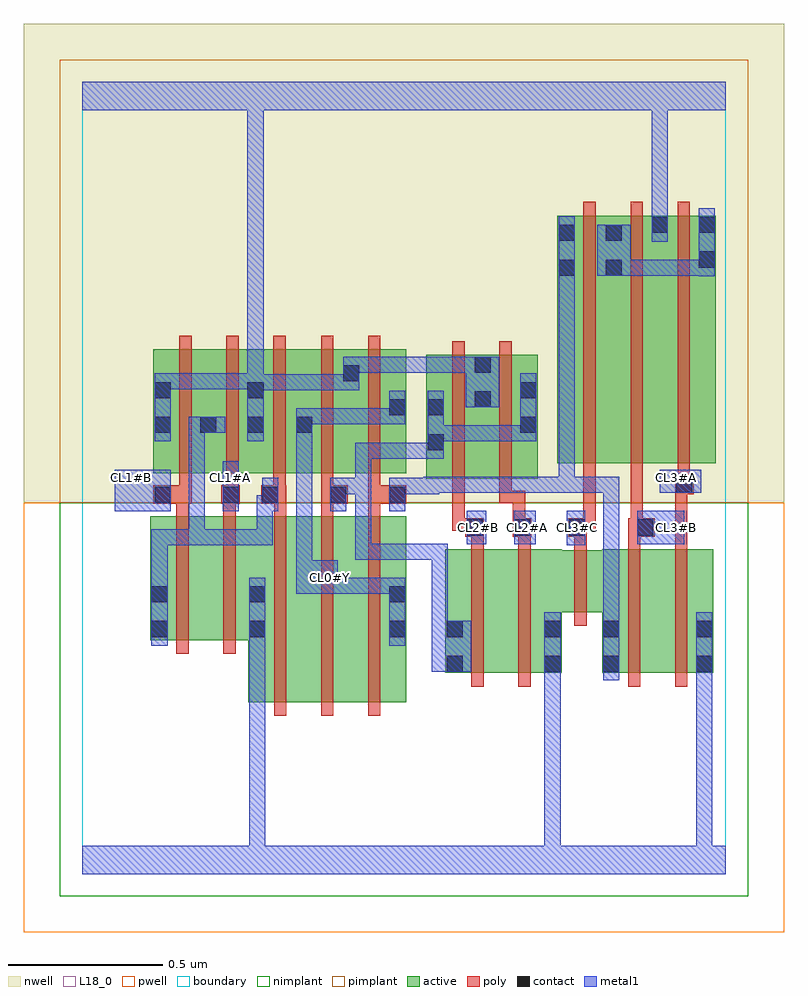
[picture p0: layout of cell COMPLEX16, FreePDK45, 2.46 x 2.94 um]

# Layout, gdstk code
import gdstk
lib = gdstk.Library(unit=1e-6, precision=1e-09)
def R(c, l, rs):  # rectangles x0, y0, x1, y1
    for r in rs: c.add(gdstk.rectangle(r[:2], r[2:], *l))
def A(c, l, x, y, w, h, nx, ny, dx, dy):  # array of equal rectangles
    R(c, l, [(x+i*dx, y+j*dy, x+i*dx+w, y+j*dy+h) for i in range(nx) for j in range(ny)])
active = (1, 0)
pwell = (2, 0)
nwell = (3, 0)
nimplant = (4, 0)
pimplant = (5, 0)
poly = (9, 0)
contact = (10, 0)
metal1 = (11, 0)
L18_0 = (18, 0)
boundary = (235, 0)

complex16 = lib.new_cell('COMPLEX16')
R(complex16, active, [(0.536,0.556,0.716,1.156), (0.716,0.556,0.868,1.156), (0.868,0.556,1.048,1.156), (0.988,0.556,1.048,1.156), (1.174,0.65,1.234,1.05), (1.174,0.65,1.354,1.05), (1.354,0.65,1.55,1.05), (1.49,0.65,1.55,1.046), (1.68,0.65,1.86,1.05), (1.68,0.65,1.74,1.046), (1.86,0.65,2.04,1.05), (1.98,0.65,2.04,1.05), (0.22,0.756,0.28,1.156), (0.22,0.756,0.4,1.156), (0.4,0.756,0.596,1.156), (0.536,0.756,0.596,1.156), (1.49,0.846,1.74,1.046), (1.112,1.278,1.172,1.644), (1.112,1.278,1.324,1.678), (1.264,1.278,1.324,1.678), (1.264,1.278,1.472,1.678), (1.412,1.278,1.472,1.644), (0.23,1.296,0.438,1.696), (0.23,1.296,0.29,1.644), (0.378,1.296,0.438,1.696), (0.378,1.296,0.59,1.696), (0.53,1.296,0.59,1.696), (0.53,1.296,0.748,1.696), (0.688,1.296,0.748,1.696), (0.688,1.296,0.9,1.696), (0.84,1.296,0.9,1.696), (0.84,1.296,1.048,1.696), (0.988,1.296,1.048,1.644), (1.536,1.328,1.596,2.128), (1.536,1.328,1.748,2.128), (1.688,1.328,1.748,2.128), (1.688,1.328,1.896,2.128), (1.836,1.328,2.048,2.128), (1.988,1.328,2.048,2.128), (1.836,1.686,1.896,2.128)])
R(complex16, pwell, [(-0.188,-0.188,2.268,1.2)])
R(complex16, nwell, [(-0.188,1.2,2.268,2.748)])
R(complex16, nimplant, [(-0.072,-0.072,2.152,1.2)])
R(complex16, pimplant, [(-0.072,1.2,2.152,2.632)])
A(complex16, poly, 0.62, 0.512, 0.04, 0.688, 3, 1, 0.152, 0)
A(complex16, poly, 0.62, 1.16, 0.04, 0.076, 3, 1, 0.152, 0)
A(complex16, poly, 0.314, 1.216, 0.04, 0.076, 3, 1, 0.152, 0)
A(complex16, poly, 0.314, 1.252, 0.04, 0.488, 3, 1, 0.152, 0)
A(complex16, poly, 1.62, 1.284, 0.04, 0.888, 3, 1, 0.152, 0)
R(complex16, poly, [(1.258,0.606,1.298,1.094), (1.41,0.606,1.45,1.094), (1.764,0.606,1.804,1.094), (1.916,0.606,1.956,1.094), (0.304,0.712,0.344,1.2), (0.456,0.712,0.496,1.2), (1.59,0.802,1.63,1.09), (1.59,1.05,1.63,1.13), (1.258,1.054,1.298,1.13), (1.41,1.054,1.45,1.13), (1.764,1.054,1.804,1.13), (1.916,1.054,1.956,1.268), (1.238,1.09,1.298,1.15), (1.392,1.09,1.452,1.15), (1.57,1.09,1.63,1.15), (1.764,1.09,1.85,1.15), (1.196,1.11,1.236,1.274), (1.196,1.11,1.278,1.15), (1.238,1.11,1.278,1.15), (1.392,1.11,1.432,1.238), (1.59,1.11,1.63,1.15), (1.59,1.11,1.66,1.15), (1.62,1.11,1.66,1.324), (1.772,1.11,1.812,1.15), (1.772,1.11,1.812,1.15), (1.772,1.11,1.812,1.324), (0.304,1.16,0.344,1.236), (0.456,1.16,0.496,1.236), (0.23,1.196,0.354,1.256), (0.304,1.196,0.344,1.236), (0.304,1.196,0.344,1.236), (0.45,1.196,0.51,1.256), (0.456,1.196,0.496,1.236), (0.456,1.196,0.496,1.236), (0.578,1.196,0.66,1.256), (0.772,1.196,0.812,1.236), (0.772,1.196,0.812,1.236), (0.772,1.196,0.858,1.256), (0.924,1.196,0.964,1.236), (0.924,1.196,0.964,1.236), (0.924,1.196,1.048,1.256), (1.348,1.198,1.388,1.274), (1.348,1.198,1.432,1.238), (0.618,1.216,0.658,1.256), (0.618,1.216,0.658,1.256), (0.772,1.216,0.812,1.292), (0.924,1.216,0.964,1.292), (1.916,1.228,1.956,1.268), (1.916,1.228,1.956,1.268), (1.916,1.228,1.976,1.288), (1.196,1.234,1.236,1.722), (1.348,1.234,1.388,1.722), (1.924,1.248,1.964,1.324), (0.772,1.252,0.812,1.74), (0.924,1.252,0.964,1.74)])
R(complex16, contact, [(1.178,0.654,1.23,0.706), (1.494,0.654,1.546,0.706), (1.684,0.654,1.736,0.706), (1.984,0.654,2.036,0.706), (0.224,0.766,0.276,0.818), (0.54,0.766,0.592,0.818), (0.992,0.766,1.044,0.818), (1.178,0.766,1.23,0.818), (1.494,0.766,1.546,0.818), (1.684,0.766,1.736,0.818), (1.984,0.766,2.036,0.818), (0.224,0.878,0.276,0.93), (0.54,0.878,0.592,0.93), (0.992,0.878,1.044,0.93), (1.242,1.094,1.294,1.146), (1.396,1.094,1.448,1.146), (1.574,1.094,1.626,1.146), (1.794,1.094,1.846,1.146), (0.234,1.2,0.286,1.252), (0.454,1.2,0.506,1.252), (0.582,1.2,0.634,1.252), (0.802,1.2,0.854,1.252), (0.992,1.2,1.044,1.252), (1.92,1.232,1.972,1.284), (1.116,1.37,1.168,1.422), (0.234,1.426,0.286,1.478), (0.382,1.426,0.434,1.478), (0.534,1.426,0.586,1.478), (0.692,1.426,0.744,1.478), (1.416,1.426,1.468,1.478), (0.992,1.482,1.044,1.534), (1.116,1.482,1.168,1.534), (1.268,1.508,1.32,1.56), (0.234,1.538,0.286,1.59), (0.534,1.538,0.586,1.59), (1.416,1.538,1.468,1.59), (0.844,1.592,0.896,1.644), (1.268,1.62,1.32,1.672), (1.54,1.934,1.592,1.986), (1.692,1.934,1.744,1.986), (1.992,1.96,2.044,2.012), (1.54,2.046,1.592,2.098), (1.692,2.046,1.744,2.098), (1.84,2.072,1.892,2.124), (1.992,2.072,2.044,2.124)])
R(complex16, metal1, [(0,0,2.08,0.092), (0.54,0.04,0.592,0.092), (0.54,0.04,0.592,0.092), (0.54,0.04,0.592,0.092), (0.54,0.04,0.592,0.092), (0.54,0.04,0.592,0.79), (1.494,0.04,1.546,0.092), (1.494,0.04,1.546,0.092), (1.494,0.04,1.546,0.092), (1.494,0.04,1.546,0.092), (1.494,0.04,1.546,0.092), (1.494,0.04,1.546,0.092), (1.494,0.04,1.546,0.092), (1.494,0.04,1.546,0.092), (1.494,0.04,1.546,0.092), (1.494,0.04,1.546,0.092), (1.494,0.04,1.546,0.678), (1.984,0.04,2.036,0.092), (1.984,0.04,2.036,0.092), (1.984,0.04,2.036,0.092), (1.984,0.04,2.036,0.092), (1.984,0.04,2.036,0.092), (1.984,0.04,2.036,0.092), (1.984,0.04,2.036,0.678), (1.494,0.626,1.546,0.846), (1.494,0.626,1.546,0.678), (1.494,0.626,1.546,0.678), (1.684,0.626,1.736,0.846), (1.984,0.626,2.036,0.846), (1.984,0.626,2.036,0.678), (1.984,0.626,2.036,0.678), (1.984,0.626,2.036,0.678), (1.984,0.626,2.036,0.678), (1.984,0.626,2.036,0.678), (1.984,0.626,2.036,0.678), (1.13,0.654,1.258,0.818), (0.224,0.738,0.276,0.958), (0.54,0.738,0.592,0.958), (0.54,0.738,0.592,0.79), (0.54,0.738,0.592,0.79), (0.54,0.738,0.592,0.79), (0.54,0.738,0.592,0.79), (0.992,0.738,1.044,0.958), (1.13,0.766,1.182,1.068), (1.684,0.794,1.736,1.284), (0.224,0.906,0.276,1.114), (0.692,0.906,0.826,1.014), (0.734,0.906,0.786,0.958), (0.734,0.906,0.786,0.958), (0.734,0.906,0.786,0.958), (0.734,0.906,0.786,0.958), (0.734,0.906,0.934,0.958), (0.882,0.906,0.934,0.958), (0.882,0.906,1.044,0.958), (0.992,0.906,1.044,0.958), (0.992,0.906,1.044,0.958), (0.692,0.962,0.744,1.45), (0.882,1.016,0.934,1.068), (0.882,1.016,1.006,1.068), (0.882,1.016,0.934,1.28), (0.954,1.016,1.006,1.068), (0.954,1.016,1.182,1.068), (1.13,1.016,1.182,1.068), (1.13,1.016,1.182,1.068), (1.13,1.016,1.182,1.068), (0.224,1.062,0.276,1.114), (0.224,1.062,0.276,1.114), (0.224,1.062,0.276,1.114), (0.224,1.062,0.396,1.114), (0.344,1.062,0.396,1.114), (0.344,1.062,0.396,1.114), (0.344,1.062,0.396,1.114), (0.344,1.062,0.396,1.114), (0.344,1.062,0.396,1.114), (0.344,1.062,0.616,1.114), (0.344,1.062,0.396,1.478), (0.564,1.062,0.616,1.224), (1.566,1.062,1.626,1.174), (1.242,1.066,1.306,1.174), (1.396,1.066,1.466,1.174), (1.794,1.066,1.946,1.174), (0.106,1.172,0.286,1.306), (0.454,1.172,0.506,1.334), (0.564,1.172,0.634,1.224), (0.582,1.172,0.634,1.28), (0.802,1.172,0.854,1.28), (0.992,1.172,1.044,1.28), (0.802,1.228,0.934,1.28), (0.882,1.228,0.934,1.28), (0.882,1.228,0.934,1.394), (0.992,1.228,1.154,1.28), (1.102,1.228,1.154,1.284), (1.102,1.232,1.154,1.284), (1.102,1.232,1.154,1.284), (1.102,1.232,1.292,1.284), (1.24,1.232,1.292,1.284), (1.24,1.232,1.292,1.284), (1.24,1.232,1.292,1.284), (1.24,1.232,1.482,1.284), (1.43,1.232,1.482,1.284), (1.43,1.232,1.482,1.284), (1.43,1.232,1.482,1.284), (1.43,1.232,1.592,1.284), (1.54,1.232,1.592,1.284), (1.54,1.232,1.592,1.284), (1.54,1.232,1.592,1.284), (1.54,1.232,1.736,1.284), (1.54,1.232,1.592,1.958), (1.684,1.232,1.736,1.284), (1.684,1.232,1.736,1.284), (1.684,1.232,1.736,1.284), (1.866,1.232,2,1.306), (0.882,1.342,0.934,1.394), (0.882,1.342,1.006,1.394), (0.954,1.342,1.006,1.394), (0.954,1.342,1.168,1.394), (1.116,1.342,1.168,1.562), (1.116,1.342,1.168,1.394), (1.116,1.342,1.168,1.394), (0.234,1.398,0.286,1.618), (0.534,1.398,0.586,1.618), (0.692,1.398,0.744,1.45), (0.692,1.398,0.744,1.45), (0.692,1.398,0.744,1.506), (1.116,1.398,1.338,1.45), (1.286,1.398,1.338,1.45), (1.286,1.398,1.338,1.45), (1.286,1.398,1.338,1.45), (1.286,1.398,1.468,1.45), (1.416,1.398,1.468,1.618), (1.416,1.398,1.468,1.45), (1.416,1.398,1.468,1.45), (0.344,1.426,0.462,1.478), (0.692,1.454,0.744,1.506), (0.692,1.454,0.744,1.506), (0.692,1.454,0.744,1.506), (0.692,1.454,0.744,1.506), (0.692,1.454,0.896,1.506), (0.844,1.454,0.896,1.506), (0.844,1.454,1.044,1.506), (0.992,1.454,1.044,1.506), (0.992,1.454,1.044,1.506), (0.992,1.454,1.044,1.562), (1.24,1.508,1.348,1.672), (0.534,1.564,0.586,1.616), (0.534,1.564,0.586,1.616), (0.534,1.564,0.786,1.616), (0.734,1.564,0.786,1.616), (0.734,1.564,0.896,1.616), (0.844,1.564,0.896,1.616), (0.844,1.564,0.896,1.616), (0.844,1.564,0.896,1.672), (0.234,1.566,0.286,1.618), (0.234,1.566,0.286,1.618), (0.234,1.566,0.396,1.618), (0.344,1.566,0.396,1.618), (0.344,1.566,0.396,1.618), (0.344,1.566,0.396,1.618), (0.344,1.566,0.586,1.618), (0.534,1.566,0.586,1.618), (0.534,1.566,0.586,1.618), (0.534,1.566,0.586,2.52), (0.844,1.62,1.044,1.672), (0.992,1.62,1.044,1.672), (0.992,1.62,1.044,1.672), (0.992,1.62,1.044,1.672), (0.992,1.62,1.182,1.672), (1.13,1.62,1.182,1.672), (1.13,1.62,1.292,1.672), (1.24,1.62,1.292,1.672), (1.24,1.62,1.292,1.672), (1.54,1.906,1.592,2.126), (1.992,1.932,2.044,2.152), (1.664,1.934,1.772,2.098), (1.72,1.934,1.772,1.986), (1.72,1.934,1.772,1.986), (1.72,1.934,1.912,1.986), (1.86,1.934,2.044,1.986), (1.86,1.934,1.912,1.986), (1.86,1.934,1.912,1.986), (1.86,1.934,1.912,1.986), (1.84,2.044,1.892,2.152), (1.84,2.1,1.892,2.52), (0,2.468,2.08,2.56), (0.534,2.468,0.586,2.52), (0.534,2.468,0.586,2.52), (0.534,2.468,0.586,2.52), (0.534,2.468,0.586,2.52), (0.534,2.468,0.586,2.52), (0.534,2.468,0.586,2.52), (0.534,2.468,0.586,2.52), (0.534,2.468,0.586,2.52), (0.534,2.468,0.586,2.52), (0.534,2.468,0.586,2.52), (0.534,2.468,0.586,2.52), (0.534,2.468,0.586,2.52), (0.534,2.468,0.586,2.52), (0.534,2.468,0.586,2.52), (1.84,2.468,1.892,2.52), (1.84,2.468,1.892,2.52), (1.84,2.468,1.892,2.52), (1.84,2.468,1.892,2.52), (1.84,2.468,1.892,2.52), (1.84,2.468,1.892,2.52), (1.84,2.468,1.892,2.52), (1.84,2.468,1.892,2.52)])
A(complex16, L18_0, 1.254, 1.094, 0.052, 0.052, 3, 1, 0.16, 0)
R(complex16, L18_0, [(0,0,2.08,0.092), (0.54,0.04,0.592,0.092), (0.54,0.04,0.592,0.092), (0.54,0.04,0.592,0.092), (0.54,0.04,0.592,0.092), (0.54,0.04,0.592,0.79), (1.494,0.04,1.546,0.092), (1.494,0.04,1.546,0.092), (1.494,0.04,1.546,0.092), (1.494,0.04,1.546,0.092), (1.494,0.04,1.546,0.092), (1.494,0.04,1.546,0.092), (1.494,0.04,1.546,0.092), (1.494,0.04,1.546,0.092), (1.494,0.04,1.546,0.092), (1.494,0.04,1.546,0.092), (1.494,0.04,1.546,0.678), (1.984,0.04,2.036,0.092), (1.984,0.04,2.036,0.092), (1.984,0.04,2.036,0.092), (1.984,0.04,2.036,0.092), (1.984,0.04,2.036,0.092), (1.984,0.04,2.036,0.092), (1.984,0.04,2.036,0.678), (1.494,0.626,1.546,0.846), (1.494,0.626,1.546,0.678), (1.494,0.626,1.546,0.678), (1.984,0.626,2.036,0.846), (1.984,0.626,2.036,0.678), (1.984,0.626,2.036,0.678), (1.984,0.626,2.036,0.678), (1.984,0.626,2.036,0.678), (1.984,0.626,2.036,0.678), (1.984,0.626,2.036,0.678), (0.54,0.738,0.592,0.958), (0.54,0.738,0.592,0.79), (0.54,0.738,0.592,0.79), (0.54,0.738,0.592,0.79), (0.54,0.738,0.592,0.79), (0.992,0.738,1.044,0.958), (0.692,0.906,0.826,1.014), (0.734,0.906,0.786,0.958), (0.734,0.906,0.786,0.958), (0.734,0.906,0.786,0.958), (0.734,0.906,0.786,0.958), (0.734,0.906,0.934,0.958), (0.882,0.906,0.934,0.958), (0.882,0.906,1.044,0.958), (0.992,0.906,1.044,0.958), (0.992,0.906,1.044,0.958), (0.774,0.934,0.826,0.986), (0.692,0.962,0.744,1.45), (1.566,1.062,1.626,1.174), (1.242,1.066,1.306,1.174), (1.396,1.066,1.466,1.174), (1.794,1.066,1.946,1.174), (1.894,1.094,1.946,1.146), (0.106,1.172,0.286,1.306), (0.454,1.172,0.506,1.334), (1.866,1.232,2,1.306), (0.134,1.254,0.186,1.306), (0.454,1.254,0.506,1.306), (1.894,1.254,1.946,1.306), (0.234,1.398,0.286,1.618), (0.534,1.398,0.586,1.618), (0.692,1.398,0.744,1.45), (0.692,1.398,0.744,1.45), (0.692,1.398,0.744,1.506), (0.692,1.454,0.744,1.506), (0.692,1.454,0.744,1.506), (0.692,1.454,0.744,1.506), (0.692,1.454,0.744,1.506), (0.692,1.454,0.896,1.506), (0.844,1.454,0.896,1.506), (0.844,1.454,1.044,1.506), (0.992,1.454,1.044,1.506), (0.992,1.454,1.044,1.506), (0.992,1.454,1.044,1.562), (1.24,1.508,1.348,1.672), (0.534,1.564,0.586,1.616), (0.534,1.564,0.586,1.616), (0.534,1.564,0.786,1.616), (0.734,1.564,0.786,1.616), (0.734,1.564,0.896,1.616), (0.844,1.564,0.896,1.616), (0.844,1.564,0.896,1.616), (0.844,1.564,0.896,1.672), (0.234,1.566,0.286,1.618), (0.234,1.566,0.286,1.618), (0.234,1.566,0.396,1.618), (0.344,1.566,0.396,1.618), (0.344,1.566,0.396,1.618), (0.344,1.566,0.396,1.618), (0.344,1.566,0.586,1.618), (0.534,1.566,0.586,1.618), (0.534,1.566,0.586,1.618), (0.534,1.566,0.586,2.52), (0.844,1.62,1.044,1.672), (0.992,1.62,1.044,1.672), (0.992,1.62,1.044,1.672), (0.992,1.62,1.044,1.672), (0.992,1.62,1.182,1.672), (1.13,1.62,1.182,1.672), (1.13,1.62,1.292,1.672), (1.24,1.62,1.292,1.672), (1.24,1.62,1.292,1.672), (1.84,2.044,1.892,2.152), (1.84,2.1,1.892,2.52), (0,2.468,2.08,2.56), (0.534,2.468,0.586,2.52), (0.534,2.468,0.586,2.52), (0.534,2.468,0.586,2.52), (0.534,2.468,0.586,2.52), (0.534,2.468,0.586,2.52), (0.534,2.468,0.586,2.52), (0.534,2.468,0.586,2.52), (0.534,2.468,0.586,2.52), (0.534,2.468,0.586,2.52), (0.534,2.468,0.586,2.52), (0.534,2.468,0.586,2.52), (0.534,2.468,0.586,2.52), (0.534,2.468,0.586,2.52), (0.534,2.468,0.586,2.52), (1.84,2.468,1.892,2.52), (1.84,2.468,1.892,2.52), (1.84,2.468,1.892,2.52), (1.84,2.468,1.892,2.52), (1.84,2.468,1.892,2.52), (1.84,2.468,1.892,2.52), (1.84,2.468,1.892,2.52), (1.84,2.468,1.892,2.52)])
R(complex16, boundary, [(0,0,2.08,2.56)])
complex16.add(gdstk.Label('CL0#Y', (0.8,0.96), layer=11, texttype=0))
complex16.add(gdstk.Label('CL1#A', (0.48,1.28), layer=11, texttype=0))
complex16.add(gdstk.Label('CL1#B', (0.16,1.28), layer=11, texttype=0))
complex16.add(gdstk.Label('CL2#A', (1.44,1.12), layer=11, texttype=0))
complex16.add(gdstk.Label('CL2#B', (1.28,1.12), layer=11, texttype=0))
complex16.add(gdstk.Label('CL3#A', (1.92,1.28), layer=11, texttype=0))
complex16.add(gdstk.Label('CL3#B', (1.92,1.12), layer=11, texttype=0))
complex16.add(gdstk.Label('CL3#C', (1.6,1.12), layer=11, texttype=0))

lib.write_gds('COMPLEX16.gds')
